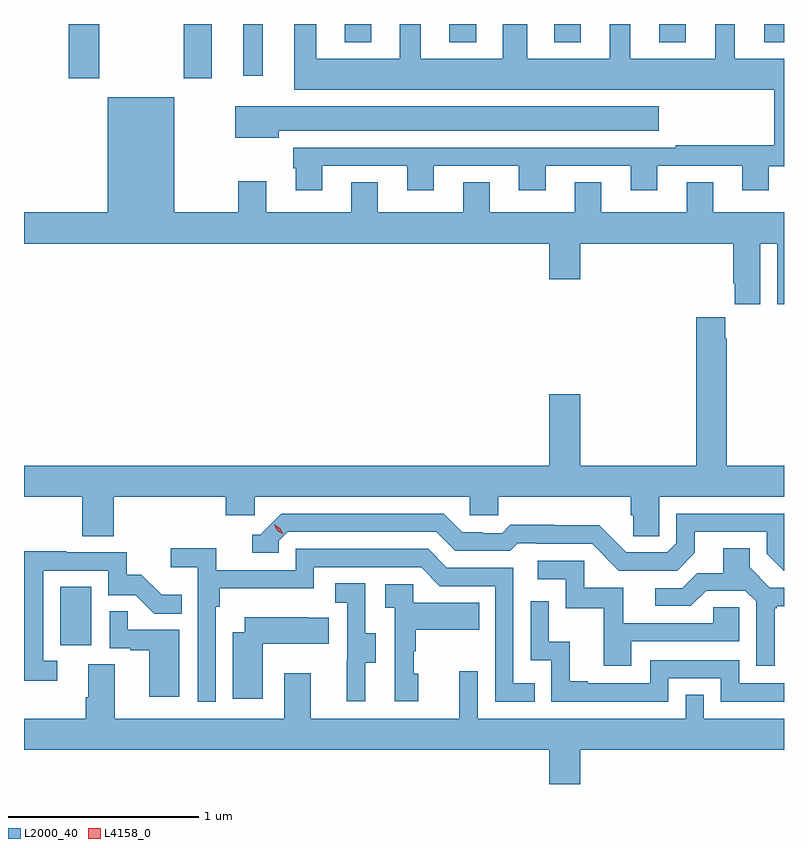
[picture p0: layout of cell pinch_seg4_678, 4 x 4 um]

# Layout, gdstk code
import gdstk
lib = gdstk.Library(unit=1e-6, precision=1e-09)
def R(c, l, rs):  # rectangles x0, y0, x1, y1
    for r in rs: c.add(gdstk.rectangle(r[:2], r[2:], *l))
def A(c, l, x, y, w, h, nx, ny, dx, dy):  # array of equal rectangles
    R(c, l, [(x+i*dx, y+j*dy, x+i*dx+w, y+j*dy+h) for i in range(nx) for j in range(ny)])
def P(c, l, *ps):  # polygons
    for p in ps: c.add(gdstk.Polygon(p, *l))
L2000_40 = (2000, 40)
L4158_0 = (4158, 0)

pinch_seg4_678 = lib.new_cell('pinch_seg4_678')
A(pinch_seg4_678, L2000_40, 1098.995, 759.251, 0.14, 0.097, 4, 1, 0.552, 0)
R(pinch_seg4_678, L2000_40, [(1097.498,756.078,1097.662,756.385), (1097.543,759.063,1097.703,759.348), (1098.148,759.063,1098.295,759.348), (1098.461,759.075,1098.565,759.348), (1101.203,759.251,1101.308,759.348)])
P(pinch_seg4_678, L2000_40, [(1098.877,758.601),(1099.325,758.601),(1099.325,758.472),(1099.465,758.472),(1099.465,758.601),(1099.913,758.601),(1099.913,758.472),(1100.053,758.472),(1100.053,758.601),(1100.501,758.601),(1100.501,758.472),(1100.641,758.472),(1100.641,758.601),(1101.089,758.601),(1101.089,758.472),(1101.229,758.472),(1101.229,758.6),(1101.308,758.6),(1101.308,759.166),(1101.049,759.166),(1101.049,759.348),(1100.945,759.348),(1100.945,759.166),(1100.5,759.166),(1100.5,759.348),(1100.39,759.348),(1100.39,759.166),(1099.957,759.166),(1099.957,759.348),(1099.829,759.348),(1099.829,759.166),(1099.396,759.166),(1099.396,759.348),(1099.286,759.348),(1099.286,759.166),(1098.847,759.166),(1098.847,759.348),(1098.731,759.348),(1098.731,759.002),(1101.257,759.002),(1101.257,758.71),(1100.737,758.71),(1100.737,758.697),(1098.725,758.697),(1098.725,758.589),(1098.737,758.589),(1098.737,758.472),(1098.877,758.472)],
  [(1101.184,758.192),(1101.272,758.192),(1101.272,757.872),(1101.308,757.872),(1101.308,758.356),(1100.935,758.356),(1100.935,758.516),(1100.795,758.516),(1100.795,758.356),(1100.347,758.356),(1100.347,758.516),(1100.207,758.516),(1100.207,758.356),(1099.759,758.356),(1099.759,758.516),(1099.619,758.516),(1099.619,758.356),(1099.171,758.356),(1099.171,758.516),(1099.031,758.516),(1099.031,758.356),(1098.583,758.356),(1098.583,758.521),(1098.436,758.521),(1098.436,758.356),(1098.1,758.356),(1098.1,758.962),(1097.75,758.962),(1097.75,758.356),(1097.308,758.356),(1097.308,758.192),(1100.072,758.192),(1100.072,758.004),(1100.236,758.004),(1100.236,758.192),(1101.041,758.192),(1101.041,757.984),(1101.05,757.984),(1101.05,757.872),(1101.184,757.872)],
  [(1098.649,758.786),(1100.65,758.786),(1100.65,758.914),(1098.42,758.914),(1098.42,758.75),(1098.649,758.75)],
  [(1097.308,756.86),(1097.615,756.86),(1097.615,756.652),(1097.78,756.652),(1097.78,756.86),(1098.371,756.86),(1098.371,756.762),(1098.522,756.762),(1098.522,756.86),(1099.653,756.86),(1099.653,756.762),(1099.803,756.762),(1099.803,756.86),(1100.501,756.86),(1100.501,756.762),(1100.515,756.762),(1100.515,756.652),(1100.652,756.652),(1100.652,756.86),(1101.308,756.86),(1101.308,757.024),(1101.006,757.024),(1101.006,757.691),(1100.999,757.691),(1100.999,757.804),(1100.846,757.804),(1100.846,757.024),(1100.236,757.024),(1100.236,757.399),(1100.072,757.399),(1100.072,757.024),(1097.308,757.024)],
  [(1100.839,756.565),(1100.839,756.675),(1101.216,756.675),(1101.216,756.561),(1101.306,756.471),(1101.308,756.471),(1101.308,756.771),(1100.742,756.771),(1100.742,756.615),(1100.694,756.567),(1100.478,756.567),(1100.336,756.709),(1100.1,756.709),(1100.1,756.712),(1099.867,756.712),(1099.825,756.669),(1099.722,756.669),(1099.722,756.672),(1099.615,756.672),(1099.516,756.771),(1098.663,756.771),(1098.552,756.66),(1098.509,756.66),(1098.509,756.564),(1098.648,756.564),(1098.648,756.627),(1098.696,756.675),(1099.479,756.675),(1099.578,756.576),(1099.867,756.576),(1099.906,756.615),(1100.005,756.615),(1100.005,756.612),(1100.298,756.612),(1100.439,756.471),(1100.745,756.471)],
  [(1101.259,756.273),(1101.271,756.273),(1101.271,756.284),(1101.308,756.284),(1101.308,756.381),(1101.234,756.381),(1101.127,756.488),(1101.127,756.59),(1100.987,756.59),(1100.987,756.458),(1100.852,756.458),(1100.772,756.378),(1100.631,756.378),(1100.631,756.285),(1100.818,756.285),(1100.899,756.366),(1101.105,756.366),(1101.162,756.309),(1101.162,755.97),(1101.259,755.97)],
  [(1098.318,756.281),(1098.338,756.281),(1098.338,756.377),(1098.834,756.377),(1098.834,756.489),(1099.398,756.489),(1099.497,756.39),(1099.788,756.39),(1099.788,755.781),(1099.997,755.781),(1099.997,755.877),(1099.884,755.877),(1099.884,756.486),(1099.534,756.486),(1099.435,756.585),(1098.738,756.585),(1098.738,756.474),(1098.32,756.474),(1098.32,756.59),(1098.081,756.59),(1098.081,756.488),(1098.222,756.488),(1098.222,755.781),(1098.318,755.781)],
  [(1097.482,755.997),(1097.409,755.997),(1097.409,756.471),(1097.751,756.471),(1097.751,756.342),(1097.895,756.342),(1097.993,756.244),(1098.137,756.244),(1098.137,756.343),(1098.033,756.343),(1097.926,756.45),(1097.85,756.45),(1097.85,756.567),(1097.531,756.567),(1097.531,756.572),(1097.308,756.572),(1097.308,755.892),(1097.482,755.892)],
  [(1100.503,756.099),(1101.072,756.099),(1101.072,756.279),(1100.935,756.279),(1100.935,756.195),(1100.461,756.195),(1100.461,756.381),(1100.256,756.381),(1100.256,756.522),(1100.013,756.522),(1100.013,756.426),(1100.16,756.426),(1100.16,756.273),(1100.359,756.273),(1100.359,755.97),(1100.503,755.97)],
  [(1099.105,755.986),(1099.159,755.986),(1099.159,756.141),(1099.104,756.141),(1099.104,756.404),(1098.945,756.404),(1098.945,756.301),(1099.008,756.301),(1099.008,755.997),(1099.007,755.997),(1099.007,755.784),(1099.105,755.784)],
  [(1099.384,755.928),(1099.359,755.928),(1099.359,756.047),(1099.369,756.047),(1099.369,756.161),(1099.703,756.161),(1099.703,756.301),(1099.356,756.301),(1099.356,756.399),(1099.209,756.399),(1099.209,756.275),(1099.26,756.275),(1099.26,755.784),(1099.384,755.784)],
  [(1100.7,755.904),(1100.976,755.904),(1100.976,755.781),(1101.308,755.781),(1101.308,755.877),(1101.072,755.877),(1101.072,756),(1100.604,756),(1100.604,755.877),(1100.275,755.877),(1100.275,755.89),(1100.18,755.89),(1100.18,756.098),(1100.07,756.098),(1100.07,756.31),(1099.974,756.31),(1099.974,756),(1100.082,756),(1100.082,755.781),(1100.7,755.781)],
  [(1098.124,756.159),(1097.855,756.159),(1097.855,756.257),(1097.76,756.257),(1097.76,756.063),(1097.867,756.063),(1097.867,756.051),(1097.966,756.051),(1097.966,755.808),(1098.124,755.808)],
  [(1098.565,756.086),(1098.911,756.086),(1098.911,756.223),(1098.803,756.223),(1098.803,756.226),(1098.471,756.226),(1098.471,756.148),(1098.407,756.148),(1098.407,755.796),(1098.565,755.796)],
  [(1100.236,755.528),(1101.308,755.528),(1101.308,755.692),(1100.886,755.692),(1100.886,755.819),(1100.79,755.819),(1100.79,755.692),(1099.695,755.692),(1099.695,755.941),(1099.598,755.941),(1099.598,755.692),(1098.817,755.692),(1098.817,755.932),(1098.677,755.932),(1098.677,755.692),(1097.785,755.692),(1097.785,755.978),(1097.645,755.978),(1097.645,755.804),(1097.633,755.804),(1097.633,755.692),(1097.308,755.692),(1097.308,755.528),(1100.072,755.528),(1100.072,755.348),(1100.236,755.348)])
P(pinch_seg4_678, L4158_0, [(1098.672,756.662),(1098.642,756.681),(1098.626,756.714),(1098.626,756.714),(1098.626,756.714),(1098.657,756.694),(1098.672,756.662),(1098.672,756.662)])

lib.write_gds('pinch_seg4_678.gds')
